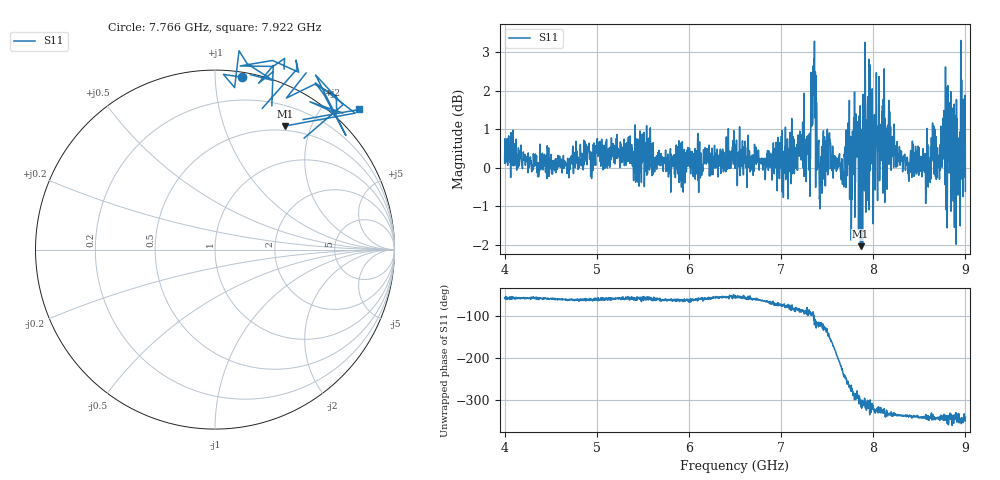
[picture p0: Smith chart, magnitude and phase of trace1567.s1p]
! Created with skrf 1.8.0 (http://scikit-rf.org).
# Hz S RI R 50.0
!freq ReS11 ImS11
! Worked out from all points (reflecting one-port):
!   1601 points, 4 GHz to 9 GHz, reference 50 ohm
!   lowest |S11| = -2.0 dB at 7.862 GHz (marker M1), VSWR 8.56, Z = 22.1 + j81.3 ohm
!   phase of S11 starts at -58 deg and turns -283 deg over the sweep
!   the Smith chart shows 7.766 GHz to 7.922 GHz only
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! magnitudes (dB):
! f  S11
! 4 GHz  0.1
! 4.625 GHz  -0.1
! 5.25 GHz  0.0
! 5.875 GHz  0.0
! 6.5 GHz  0.0
! 7.125 GHz  0.5
! 7.222 GHz  0.5
! 7.297 GHz  0.8
! 7.347 GHz  2.6
! 7.372 GHz  2.5
! 7.4 GHz  0.0
! 7.422 GHz  -1.1
! 7.509 GHz  0.0
! 7.656 GHz  -0.2
! 7.716 GHz  0.8
! 7.75 GHz  -0.3
! 7.784 GHz  0.0
! 7.834 GHz  1.2
! 7.862 GHz  -2.0
! 7.938 GHz  1.6
! 8.003 GHz  -0.2
! 8.097 GHz  0.7
! 8.375 GHz  0.1
! 8.594 GHz  -0.2
! 8.759 GHz  0.7
! 8.919 GHz  -0.7
! 8.972 GHz  0.4
! 9 GHz  -0.6
